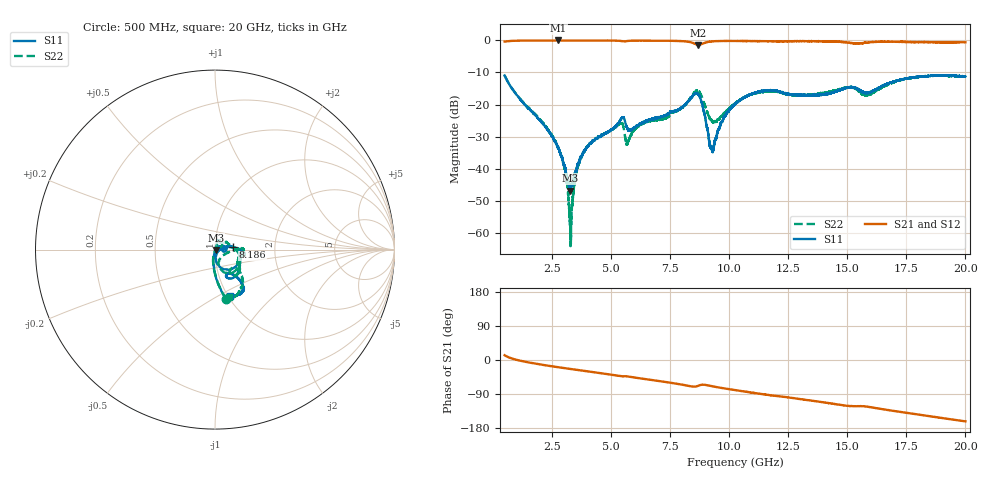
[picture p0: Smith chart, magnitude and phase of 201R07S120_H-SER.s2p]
!{201R07S120}
!Johanson Technology Inc.
!www.johansontechnology.com
!Test Board Conditions:
!Substrate Type  RO4350B
!Substrate Thickness  10 mil
!Substrate Dk  3.66
!TL Type: GCPW
!TL Trace Width  21 mil
!TL Gap  20 mil
!Electrode orientation  Horizontal
!DUT TOPOLOGY	SERIES
!Mounting Pad LxW  16x21 mil
!Agilent Technologies,N5230A,MY45001966,A.07.50.67
!Agilent N5230A: A.07.50.67
! Created Mon Mar  9 15:50:40 2020
# mhz S ma R 50
! 2 Port Network Data from SP1.SP block
! freq  magS11  angS11  magS21  angS21  magS12  angS12  magS22  angS22
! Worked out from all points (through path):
!   19501 points, 500 MHz to 20 GHz, reference 50 ohm
!   highest |S21| = -0.02 dB at 2.771 GHz (marker M1); lowest = -1.4 dB at 8.703 GHz (marker M2)
!   group delay of S21, straight-line fit = 22.9 ps
!   lowest |S11| = -46.8 dB at 3.282 GHz (marker M3), VSWR 1.01, Z = 50.4 - j0.266 ohm
!   |S11| at or under -10 dB: start of sweep to end of sweep
!   |S22| runs from -64.1 to -10.8 dB; largest |S21 - S12| = 0.017
!   S11 on the Smith chart (normalised r, x): 500 MHz: 0.96, -0.58; 8.186 GHz: 1.23, +0.03; 20 GHz: 1.02, -0.58
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500  0.2837 -77.3  0.9577 12.6  0.9567 12.6  0.2852 -77.1
2771  0.02078 -99.0  0.9979 -19.1  0.9965 -19.0  0.02125 -105.4
3065  0.009944 -86.0  0.997 -21.7  0.9969 -21.7  0.009342 -101.5
3282  0.004583 -35.2  0.9974 -23.6  0.9974 -23.6  0.0009206 -59.3
3523  0.009221 26.7  0.9961 -25.7  0.9967 -25.6  0.008232 61.1
3750  0.01568 37.1  0.9956 -27.7  0.9969 -27.7  0.01515 65.8
4289  0.02773 38.3  0.9952 -32.3  0.9959 -32.4  0.02777 65.4
5468  0.06238 10.1  0.9729 -43.1  0.9731 -43.1  0.05132 40.2
5703  0.04214 -9.9  0.979 -43.4  0.9793 -43.3  0.02508 56.0
6158  0.04777 5.9  0.9905 -47.7  0.9906 -47.6  0.04556 73.5
7000  0.06378 6.3  0.99 -55.2  0.9899 -55.2  0.05888 60.8
8186  0.1028 7.3  0.9613 -67.1  0.9614 -67.0  0.1027 6.8
8703  0.1436 -48.4  0.8506 -67.8  0.85 -67.9  0.1623 -49.5
9267  0.02064 -35.3  0.9638 -69.1  0.9627 -69.0  0.05652 -56.7
9726  0.05608 12.2  0.9791 -74.2  0.977 -74.2  0.0684 -16.6
10250  0.1016 6.5  0.9789 -79.4  0.9787 -79.3  0.1045 -2.9
11442  0.1627 -7.2  0.9731 -90.2  0.9714 -90.2  0.1584 1.4
13500  0.1399 -9.7  0.9757 -107.5  0.9725 -107.6  0.1428 -28.1
15101  0.1861 -52.2  0.9191 -121.6  0.9137 -121.3  0.1853 -46.4
15821  0.1526 -62.1  0.9258 -122.9  0.9256 -123.0  0.1403 -48.9
16750  0.2146 -50.4  0.958 -132.2  0.9483 -132.3  0.2084 -44.7
20000  0.2742 -71.7  0.9343 -161.9  0.9362 -161.7  0.2755 -74.0
